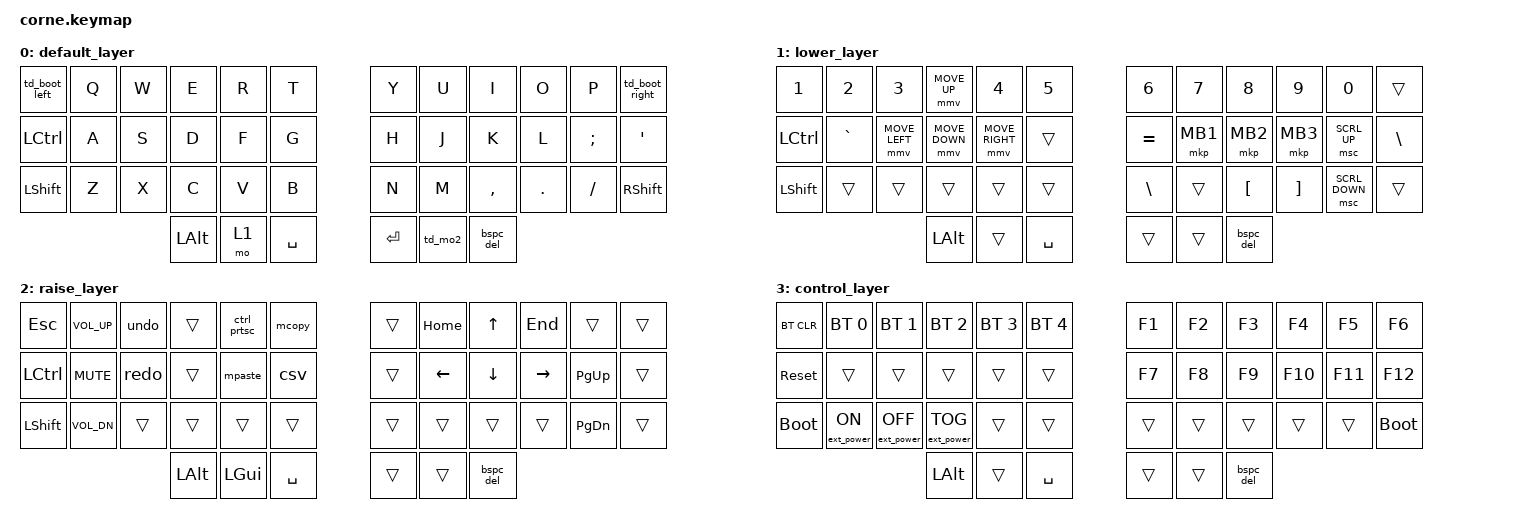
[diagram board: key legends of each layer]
/*
 * Copyright (c) 2020 The ZMK Contributors
 *
 * SPDX-License-Identifier: MIT
 */

#include <behaviors.dtsi>
#include <dt-bindings/zmk/keys.h>
#include <dt-bindings/zmk/bt.h>
#include <dt-bindings/zmk/ext_power.h>
#include <dt-bindings/zmk/pointing.h>

/ {
    macros {
        win_c: win_c {
            label = "WIN_C";
            compatible = "zmk,behavior-macro";
            #binding-cells = <0>;
            bindings
                = <&macro_press &kp LGUI>
                , <&macro_tap &kp C>
                , <&macro_release &kp LGUI>
                ;
        };
        ctrl_prtsc: ctrl_prtsc {
            label = "CTRL_PRSC";
            compatible = "zmk,behavior-macro";
            #binding-cells = <0>;
            bindings
                = <&macro_press &kp LCTRL>
                , <&macro_tap &kp PRINTSCREEN>
                , <&macro_release &kp LCTRL>
                ;
        };

        csc: csc {
            label = "CSC";
            compatible = "zmk,behavior-macro";
            #binding-cells = <0>;
            bindings
                = <&macro_press &kp LCTRL &kp LSHIFT>
                , <&macro_tap &kp C>
                , <&macro_release &kp LSHIFT &kp LCTRL>
                ;
        };

        csv: csv {
            label = "CSV";
            compatible = "zmk,behavior-macro";
            #binding-cells = <0>;
            bindings
                = <&macro_press &kp LCTRL &kp LSHIFT>
                , <&macro_tap &kp V>
                , <&macro_release &kp LSHIFT &kp LCTRL>
                ;
        };

        mcopy: mcopy {
            label = "mcopy";
            compatible = "zmk,behavior-macro";
            #binding-cells = <0>;
            bindings
                = <&macro_press &kp LCTRL>
                , <&macro_tap &kp C>
                , <&macro_release &kp LCTRL>
                ;
        };

        mpaste: mpaste {
            label = "mpaste";
            compatible = "zmk,behavior-macro";
            #binding-cells = <0>;
            bindings
                = <&macro_press &kp LCTRL>
                , <&macro_tap &kp V>
                , <&macro_release &kp LCTRL>
                ;
        };

        undo: undo {
            label = "undo";
            compatible = "zmk,behavior-macro";
            #binding-cells = <0>;
            bindings
                = <&macro_press &kp LCTRL>
                , <&macro_tap &kp Z>
                , <&macro_release &kp LCTRL>
                ;
        };

        redo: redo {
            label = "redo";
            compatible = "zmk,behavior-macro";
            #binding-cells = <0>;
            bindings
                = <&macro_press &kp LCTRL>
                , <&macro_tap &kp Y>
                , <&macro_release &kp LCTRL>
                ;
        };

        ptrun: ptrun {
            label = "ptrun";
            compatible = "zmk,behavior-macro";
            #binding-cells = <0>;
            bindings
                = <&macro_press &kp LWIN>
                , <&macro_press &kp LALT>
                , <&macro_tap &kp SPACE>
                , <&macro_release &kp LWIN>
                , <&macro_release &kp LALT>
                ;
        };
    };

    behaviors {
        compatible = "zmk,behaviors";

        bspc_del: bspc_del {
            compatible = "zmk,behavior-mod-morph";
            #binding-cells = <0>;
            bindings = <&kp BSPC>, <&kp DEL>;
            mods = <(MOD_LSFT|MOD_RSFT)>;
            keep-mods = <(MOD_RSFT)>;
        };

        /* Tap-dance bootloader activators: hold the top-outside key for 20s to enter bootloader */
        td_boot_left: td_boot_left {
            compatible = "zmk,behavior-tap-dance";
            #binding-cells = <0>;
            tapping-term-ms = <20000>;
            bindings = <&kp TAB>, <&bootloader>;
        };

        td_boot_right: td_boot_right {
            compatible = "zmk,behavior-tap-dance";
            #binding-cells = <0>;
            tapping-term-ms = <20000>;
            bindings = <&kp MINUS>, <&bootloader>;
        };

        /* Tap-dance for MO(2) key: hold -> MO(2); double-tap -> sticky Control layer (use &sl) */
        td_mo2: td_mo2 {
            compatible = "zmk,behavior-tap-dance";
            #binding-cells = <0>;
            tapping-term-ms = <250>;
            bindings = <&mo 2>, <&sl 4>;
        };
    };

    keymap {
        compatible = "zmk,keymap";

        default_layer {
// -----------------------------------------------------------------------------------------
// |  TAB |  Q  |  W  |  E  |  R  |  T  |   |  Y  |  U   |  I  |  O  |  P  | -_   |
// | CTRL |  A  |  S  |  D  |  F  |  G  |   |  H  |  J   |  K  |  L  |  ;  |  '   |
// | SHFT |  Z  |  X  |  C  |  V  |  B  |   |  N  |  M   |  ,  |  .  |  /  | SHFT |
//                    | ALT | LWR | SPC |   | RET | RSE  |BSDEL|
            bindings = <
   &td_boot_left &kp Q &kp W &kp E &kp R   &kp T &kp Y  &kp U     &kp I   &kp O    &kp P    &td_boot_right
   &kp LCTRL     &kp A &kp S &kp D &kp F &kp G   &kp H &kp J  &kp K     &kp L   &kp SEMI &kp SQT
   &kp LSHFT     &kp Z &kp X &kp C &kp V &kp B   &kp N &kp M  &kp COMMA &kp DOT &kp FSLH &kp RSHFT
                      &kp LALT &mo 1 &kp SPACE    &kp RET &td_mo2 &bspc_del
            >;
        };

        lower_layer {
// -----------------------------------------------------------------------------------------
// |  1   |  2  |  3  |  ^  |  4  |  5  |   |  6  |  7  |  8  |  9  |  0  |  -_  |
// | CTRL | `~  | <-  |  v  | ->  |     |   | =+  | MB1 | MB2 | MB3 | SCU |  \|  |
// | SHFT |     |     |     |     |     |   |  \| |     |  [{ |  }] | SCD | SHFT |
//                    | ALT |     | SPC |   |     | MO3 |BSDEL|
            bindings = <
   &kp N1     &kp N2       &kp N3          &mmv MOVE_UP    &kp N4          &kp N5         &kp N6    &kp N7      &kp N8    &kp N9     &kp N0         &trans
   &kp LCTRL  &kp GRAVE    &mmv MOVE_LEFT  &mmv MOVE_DOWN  &mmv MOVE_RIGHT &trans         &kp EQUAL &mkp MB1    &mkp MB2  &mkp MB3   &msc SCRL_UP   &kp BSLH
   &kp LSHFT  &trans       &trans          &trans          &trans          &trans         &kp BSLH  &trans      &kp LBKT  &kp RBKT   &msc SCRL_DOWN &trans
                                           &kp LALT        &trans          &kp SPACE      &trans    &trans     &bspc_del
            >;
        };

        raise_layer {
// -----------------------------------------------------------------------------------------
// |  ESC | VUP |UNDO |     |C+PSC| COPY|   |     | HOME| UP  | END |     |      |
// | CTRL | MUTE|REDO |     |PASTE|C+S+V|   |     | LEFT| DOWN|RIGHT|PG_UP|      |
// | SHFT | VDWN|     |     |     |     |   |     |     |     |     |PG_DN| SHFT |
//                    | ALT | GUI | SPC |   |     | MO4 |BSDEL|
            bindings = <
   &kp ESC    &kp C_VOL_UP &undo      &trans       &ctrl_prtsc &mcopy    &trans    &kp HOME &kp UP    &kp END   &trans    &trans
   &kp LCTRL  &kp C_MUTE   &redo      &trans       &mpaste     &csv      &trans    &kp LEFT &kp DOWN  &kp RIGHT &kp PG_UP &trans
   &kp LSHFT  &kp C_VOL_DN &trans     &trans       &trans      &trans    &trans    &trans   &trans    &trans    &kp PG_DN &trans
                                      &kp LALT     &kp LGUI    &kp SPACE &trans    &trans    &bspc_del
            >;
        };

        control_layer {
// -----------------------------------------------------------------------------------------
// | BTCLR| BT1 | BT2 | BT3 | BT4 | BT5 |   | F1  | F2  | F3  | F4  | F5  | F6   |
// |SYS_RS|     |     |     |     |     |   | F7  | F8  | F9  | F10 | F11 | F12  |
// | BOOT |P_ON |P_OFF|P_TOG|     |     |   |     |     |     |     |     | BOOT |
//                    | ALT |     | SPC |   |     |     |BSDEL|
            bindings = <
   &bt BT_CLR  &bt BT_SEL 0     &bt BT_SEL 1      &bt BT_SEL 2      &bt BT_SEL 3 &bt BT_SEL 4    &kp F1 &kp F2 &kp F3 &kp F4 &kp F5 &kp F6
   &sys_reset  &trans           &trans            &trans            &trans       &trans          &kp F7 &kp F8 &kp F9 &kp F10 &kp F11 &kp F12
   &bootloader &ext_power EP_ON &ext_power EP_OFF &ext_power EP_TOG &trans       &trans          &trans &trans &trans &trans &trans &bootloader
                                &kp LALT          &trans            &kp SPACE    &trans          &trans &bspc_del
            >;
        };
    };
};
